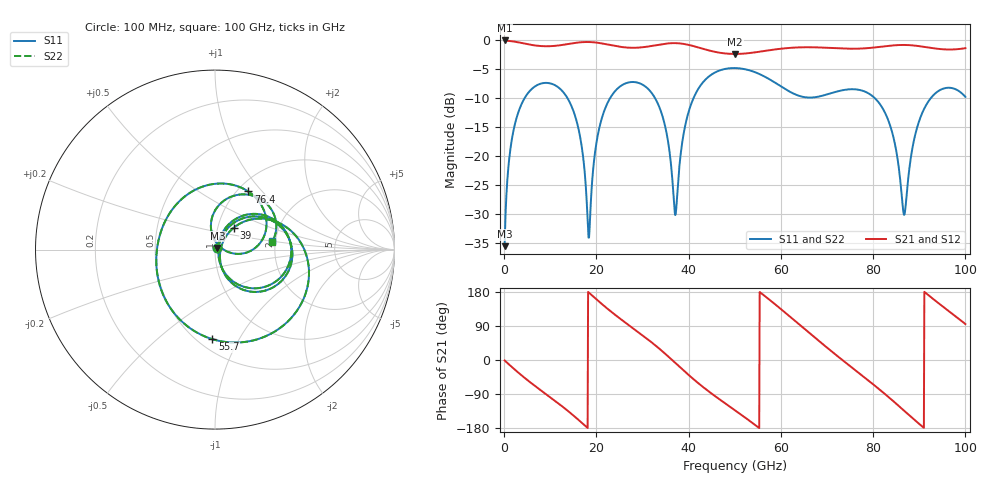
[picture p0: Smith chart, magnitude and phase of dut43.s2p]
! Touchstone file exported from HFSS 2026.1.0
!  File:  C:/ffzhzh/LocalFiles/Ansys_Project_Files/temp_train_TSV_RDL_43_1783619727_26216.aedt
!  Generated:  02:09:12 AM Jul 10, 2026
!  Design:  TSV_RDL
!  Project:  temp_train_TSV_RDL_43_1783619727_26216
! Variables:
!  h_bsmrdl = 3.22um
!  h_ox = 20um
!  h_rdl = 5um
!  h_sub = 67.08um
!  h_tmrdl = 4.1um
!  h_tsv = 67.08um
!  h_via = 3um
!  l_bsmrdl = 596.53um
!  l_sub = 3420.23um
!  l_tmrdl = 268.45um
!  m_sub = 200um
!  pitch = 44.29um
!  r_tsv = 7.85um
!  s_tmrdl = 10um
!  w_bsmrdl = 23.13um
!  w_sub = 500um
!  w_tmrdl = 29.15um
!  x_tsv_center1 = 283.025um
!  x_tsv_center2 = 902.685um
!  x_tsv_center3 = 1200.285um
!  x_tsv_center4 = 1819.945um
!  x_tsv_center5 = 2117.545um
!  x_tsv_center6 = 2737.205um
# GHz S MA R 50.000000
! Terminal data exported
! Port[1] = TM_RDL1_1_T1
! Port[2] = TM_RDL5_1_T1
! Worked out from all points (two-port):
!   1000 points, 100 MHz to 100 GHz, reference 50 ohm
!   highest |S21| = -0.12 dB at 100 MHz (marker M1); lowest = -2.4 dB at 50.1 GHz (marker M2)
!   |S21| within 3 dB of the highest: start of sweep to end of sweep
!   lowest |S11| = -35.6 dB at 100 MHz (marker M3), VSWR 1.03, Z = 51.4 + j0.964 ohm
!   |S11| at or under -10 dB: 13.69 GHz to 23.02 GHz (9.329 GHz wide, 50.8 % of centre); 32.67 GHz to 41.09 GHz (8.412 GHz wide, 22.8 % of centre); 80.28 GHz to 92.56 GHz (12.28 GHz wide, 14.2 % of centre) (the widest 3 of 4)
!   |S22| runs from -35.6 to -4.9 dB; largest |S21 - S12| = 5.7e-13
!   S11 on the Smith chart (normalised r, x): 100 MHz: 1.03, +0.02; 39 GHz: 1.19, +0.30; 55.7 GHz: 0.59, -0.78; 76.4 GHz: 1.12, +0.84; 100 GHz: 1.92, +0.19
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0.1  0.01665 34.3  0.9864 -1.2  0.9864 -1.2  0.01665 34.3
! Gamma 0 0 0 0
! Port Impedance 50 0 50 0
1.9  0.1558 62.0  0.9687 -20.9  0.9687 -20.9  0.1558 62.0
5.7  0.3672 27.4  0.9064 -59.3  0.9064 -59.3  0.3672 27.4
11.6  0.393 -24.2  0.8912 -113.1  0.8912 -113.1  0.393 -24.3
16.8  0.1217 -68.6  0.9528 -165.2  0.9528 -165.2  0.1218 -68.7
18.4  0.01972 6.8  0.9563 177.5  0.9563 177.5  0.01972 6.7
20.6  0.1719 56.0  0.9379 153.8  0.9379 153.8  0.1719 55.9
24.7  0.3834 20.3  0.8749 113.2  0.8749 113.2  0.3834 20.2
33.4  0.2773 -54.3  0.9051 32.3  0.9051 32.3  0.2773 -54.4
37.1  0.03085 -11.3  0.9354 -7.5  0.9354 -7.5  0.03067 -11.4
39  0.1621 49.3  0.9199 -28.6  0.9199 -28.6  0.1621 49.3
43.7  0.4561 9.8  0.823 -76.8  0.823 -76.8  0.4562 9.8
50.1  0.5703 -43.5  0.7546 -133.2  0.7546 -133.2  0.5703 -43.6
55.7  0.4991 -91.7  0.7924 176.5  0.7924 176.5  0.4992 -91.8
62  0.3556 -153.1  0.8515 114.1  0.8515 114.1  0.3556 -153.1
66.7  0.3179 157.0  0.8616 66.0  0.8616 66.0  0.3178 157.3
71.6  0.3532 106.0  0.8464 16.8  0.8464 16.8  0.3531 106.3
76.4  0.3731 60.2  0.8376 -29.5  0.8376 -29.5  0.373 60.4
83.4  0.1966 -2.4  0.8868 -98.4  0.8868 -98.4  0.1967 -2.4
86.7  0.03097 41.6  0.9022 -133.6  0.9022 -133.6  0.03033 41.2
91.4  0.2697 81.1  0.8645 176.9  0.8645 176.9  0.2694 81.2
100  0.3219 8.1  0.8462 94.8  0.8462 94.8  0.3217 8.0
